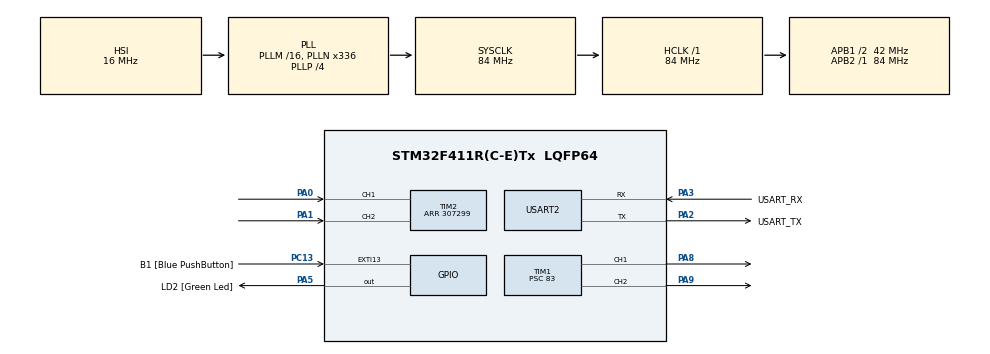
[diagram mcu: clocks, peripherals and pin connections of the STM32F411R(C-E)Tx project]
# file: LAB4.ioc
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ARM.CMSIS.5.6.0.CMSISJjCORE=true
ARM.CMSIS.5.6.0.CMSISJjDSP=Library
Mcu.Family=STM32F4
Mcu.Name=STM32F411R(C-E)Tx
Mcu.Package=LQFP64
Mcu.UserConstants=QEI_PR,64512
NVIC.PriorityGroup=NVIC_PRIORITYGROUP_0
PA0-WKUP.Signal=S_TIM2_CH1_ETR
PA1.Signal=S_TIM2_CH2
PA13.GPIO_Label=TMS
PA13.Mode=Serial_Wire
PA13.Signal=SYS_JTMS-SWDIO
PA14.GPIO_Label=TCK
PA14.Mode=Serial_Wire
PA14.Signal=SYS_JTCK-SWCLK
PA2.GPIO_Label=USART_TX
PA2.Mode=Asynchronous
PA2.Signal=USART2_TX
PA3.GPIO_Label=USART_RX
PA3.Mode=Asynchronous
PA3.Signal=USART2_RX
PA5.GPIO_Label=LD2 [Green Led]
PA5.Signal=GPIO_Output
PA8.Signal=S_TIM1_CH1
PA9.Signal=S_TIM1_CH2
PB3.GPIO_Label=SWO
PB3.Signal=SYS_JTDO-SWO
PC13-ANTI_TAMP.GPIO_Label=B1 [Blue PushButton]
PC13-ANTI_TAMP.GPIO_ModeDefaultEXTI=GPIO_MODE_IT_FALLING
PC13-ANTI_TAMP.Signal=GPXTI13
PC14-OSC32_IN.Mode=LSE-External-Oscillator
PC14-OSC32_IN.Signal=RCC_OSC32_IN
PC15-OSC32_OUT.Mode=LSE-External-Oscillator
PC15-OSC32_OUT.Signal=RCC_OSC32_OUT
PH0\ -\ OSC_IN.Mode=HSE-External-Clock-Source
PH0\ -\ OSC_IN.Signal=RCC_OSC_IN
PH1\ -\ OSC_OUT.Mode=HSE-External-Clock-Source
PH1\ -\ OSC_OUT.Signal=RCC_OSC_OUT
ProjectManager.HeapSize=0x200
ProjectManager.StackSize=0x400
ProjectManager.TargetToolchain=STM32CubeIDE
RCC.48MHZClocksFreq_Value=84000000
RCC.AHBFreq_Value=84000000
RCC.APB1CLKDivider=RCC_HCLK_DIV2
RCC.APB1Freq_Value=42000000
RCC.APB1TimFreq_Value=84000000
RCC.APB2Freq_Value=84000000
RCC.APB2TimFreq_Value=84000000
RCC.CortexFreq_Value=84000000
RCC.FLatency-AdvancedSettings=FLASH_LATENCY_2
RCC.HCLKFreq_Value=84000000
RCC.HSE_VALUE=8000000
RCC.HSI_VALUE=16000000
RCC.PLLN=336
RCC.PLLP=RCC_PLLP_DIV4
RCC.SYSCLKFreq_VALUE=84000000
RCC.SYSCLKSource=RCC_SYSCLKSOURCE_PLLCLK
RCC.VCOOutputFreq_Value=336000000
SH.S_TIM1_CH1.0=TIM1_CH1,PWM Generation1 CH1
SH.S_TIM1_CH2.0=TIM1_CH2,PWM Generation2 CH2
SH.S_TIM2_CH1_ETR.0=TIM2_CH1,Encoder_Interface
SH.S_TIM2_CH2.0=TIM2_CH2,Encoder_Interface
TIM1.Channel-PWM\ Generation1\ CH1=TIM_CHANNEL_1
TIM1.Channel-PWM\ Generation2\ CH2=TIM_CHANNEL_2
TIM1.Period=19999
TIM1.Prescaler=83
TIM2.EncoderMode=TIM_ENCODERMODE_TI12
TIM2.Period=307299
USART2.VirtualMode=VM_ASYNC
VP_ARM.CMSIS_VS_CMSISJjCORE_5.3.0_5.6.0.Mode=CMSISJjCORE
VP_ARM.CMSIS_VS_CMSISJjDSP_1.7.0_5.6.0.Mode=CMSISJjDSP
VP_TIM1_VS_ClockSourceINT.Mode=Internal
board=NUCLEO-F411RE

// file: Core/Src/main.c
/* USER CODE BEGIN Header */
/**
  ******************************************************************************
  * @file           : main.c
  * @brief          : Main program body
  ******************************************************************************
  * @attention
  *
  * Copyright (c) 2023 STMicroelectronics.
  * All rights reserved.
  *
  * This software is licensed under terms that can be found in the LICENSE file
  * in the root directory of this software component.
  * If no LICENSE file comes with this software, it is provided AS-IS.
  *
  ******************************************************************************
  */
/* USER CODE END Header */
#include "main.h"

/* USER CODE BEGIN Includes */
#include "arm_math.h"
/* USER CODE END Includes */

TIM_HandleTypeDef htim1;
TIM_HandleTypeDef htim2;

UART_HandleTypeDef huart2;

/* USER CODE BEGIN PV */
float position 			= 0;
float setposition 		= 0;
float Vfeedback 		= 0;

float error_prior 		= 0;
float integral_prior 	= 0;

float bias				= 0;
float Kp 				= 200;
float Ki			 	= 0.00001;
float Kd				= 5;

float error1 			= 0;

/* USER CODE END PV */

void SystemClock_Config(void);
static void MX_GPIO_Init(void);
static void MX_USART2_UART_Init(void);
static void MX_TIM1_Init(void);
static void MX_TIM2_Init(void);
/* USER CODE BEGIN PFP */
double my_pid();
/* USER CODE END PFP */

int main(void)
{

  /* MCU Configuration--------------------------------------------------------*/

  /* Reset of all peripherals, Initializes the Flash interface and the Systick. */
  HAL_Init();

  /* Configure the system clock */
  SystemClock_Config();

  /* Initialize all configured peripherals */
  MX_GPIO_Init();
  MX_USART2_UART_Init();
  MX_TIM1_Init();
  MX_TIM2_Init();
  /* USER CODE BEGIN 2 */
  HAL_TIM_Encoder_Start(&htim2, TIM_CHANNEL_1|TIM_CHANNEL_2);

  HAL_TIM_Base_Start(&htim1);				//PWM
  HAL_TIM_PWM_Start(&htim1, TIM_CHANNEL_1); //PWM
  HAL_TIM_PWM_Start(&htim1, TIM_CHANNEL_2); //PWM

  /* USER CODE END 2 */

  /* Infinite loop */
  /* USER CODE BEGIN WHILE */
  while (1)
  {
	 static uint32_t timestamp = 0;
	 if(timestamp < HAL_GetTick()){
		 timestamp = HAL_GetTick()+1;

		 //Vfeedback = arm_pid_f32(&PID,setposition - position);
		 Vfeedback = my_pid();
		 position = (__HAL_TIM_GET_COUNTER(&htim2)) * 0.1171875; // *(360/3072)
		 if(position > 36000){position = position - 36013;}
		 error1 = setposition - position;
		 if(fabs(error1) < 0.1){
			 __HAL_TIM_SET_COMPARE(&htim1,TIM_CHANNEL_1,0);
			 __HAL_TIM_SET_COMPARE(&htim1,TIM_CHANNEL_2,0);
		 }
		 else{
			 if(Vfeedback < 0){
				 Vfeedback = Vfeedback * -1;
				 if(Vfeedback > 20000){Vfeedback = 20000;}
				 if(Vfeedback < 400){Vfeedback = 400;}
				 __HAL_TIM_SET_COMPARE(&htim1,TIM_CHANNEL_1,0);
				 __HAL_TIM_SET_COMPARE(&htim1,TIM_CHANNEL_2,Vfeedback);
			 }
			 else{
				 if(Vfeedback > 20000){Vfeedback = 20000;}
				 if(Vfeedback < 400){Vfeedback = 400;}
				 __HAL_TIM_SET_COMPARE(&htim1,TIM_CHANNEL_1,Vfeedback);
				 __HAL_TIM_SET_COMPARE(&htim1,TIM_CHANNEL_2,0);
			 }
		 }
//		 position = (__HAL_TIM_GET_COUNTER(&htim2)) * 0.1171875; // *(360/3072)

	 }
    /* USER CODE END WHILE */

  }
}

void SystemClock_Config(void)
{
  RCC_OscInitTypeDef RCC_OscInitStruct = {0};
  RCC_ClkInitTypeDef RCC_ClkInitStruct = {0};

  /** Configure the main internal regulator output voltage
  */
  __HAL_RCC_PWR_CLK_ENABLE();
  __HAL_PWR_VOLTAGESCALING_CONFIG(PWR_REGULATOR_VOLTAGE_SCALE1);

  /** Initializes the RCC Oscillators according to the specified parameters
  * in the RCC_OscInitTypeDef structure.
  */
  RCC_OscInitStruct.OscillatorType = RCC_OSCILLATORTYPE_HSI;
  RCC_OscInitStruct.HSIState = RCC_HSI_ON;
  RCC_OscInitStruct.HSICalibrationValue = RCC_HSICALIBRATION_DEFAULT;
  RCC_OscInitStruct.PLL.PLLState = RCC_PLL_ON;
  RCC_OscInitStruct.PLL.PLLSource = RCC_PLLSOURCE_HSI;
  RCC_OscInitStruct.PLL.PLLM = 16;
  RCC_OscInitStruct.PLL.PLLN = 336;
  RCC_OscInitStruct.PLL.PLLP = RCC_PLLP_DIV4;
  RCC_OscInitStruct.PLL.PLLQ = 4;
  if (HAL_RCC_OscConfig(&RCC_OscInitStruct) != HAL_OK)
  {
    Error_Handler();
  }

  /** Initializes the CPU, AHB and APB buses clocks
  */
  RCC_ClkInitStruct.ClockType = RCC_CLOCKTYPE_HCLK|RCC_CLOCKTYPE_SYSCLK
                              |RCC_CLOCKTYPE_PCLK1|RCC_CLOCKTYPE_PCLK2;
  RCC_ClkInitStruct.SYSCLKSource = RCC_SYSCLKSOURCE_PLLCLK;
  RCC_ClkInitStruct.AHBCLKDivider = RCC_SYSCLK_DIV1;
  RCC_ClkInitStruct.APB1CLKDivider = RCC_HCLK_DIV2;
  RCC_ClkInitStruct.APB2CLKDivider = RCC_HCLK_DIV1;

  if (HAL_RCC_ClockConfig(&RCC_ClkInitStruct, FLASH_LATENCY_2) != HAL_OK)
  {
    Error_Handler();
  }
}

static void MX_TIM1_Init(void)
{

  TIM_ClockConfigTypeDef sClockSourceConfig = {0};
  TIM_MasterConfigTypeDef sMasterConfig = {0};
  TIM_OC_InitTypeDef sConfigOC = {0};
  TIM_BreakDeadTimeConfigTypeDef sBreakDeadTimeConfig = {0};

  htim1.Instance = TIM1;
  htim1.Init.Prescaler = 83;
  htim1.Init.CounterMode = TIM_COUNTERMODE_UP;
  htim1.Init.Period = 19999;
  htim1.Init.ClockDivision = TIM_CLOCKDIVISION_DIV1;
  htim1.Init.RepetitionCounter = 0;
  htim1.Init.AutoReloadPreload = TIM_AUTORELOAD_PRELOAD_DISABLE;
  if (HAL_TIM_Base_Init(&htim1) != HAL_OK)
  {
    Error_Handler();
  }
  sClockSourceConfig.ClockSource = TIM_CLOCKSOURCE_INTERNAL;
  if (HAL_TIM_ConfigClockSource(&htim1, &sClockSourceConfig) != HAL_OK)
  {
    Error_Handler();
  }
  if (HAL_TIM_PWM_Init(&htim1) != HAL_OK)
  {
    Error_Handler();
  }
  sMasterConfig.MasterOutputTrigger = TIM_TRGO_RESET;
  sMasterConfig.MasterSlaveMode = TIM_MASTERSLAVEMODE_DISABLE;
  if (HAL_TIMEx_MasterConfigSynchronization(&htim1, &sMasterConfig) != HAL_OK)
  {
    Error_Handler();
  }
  sConfigOC.OCMode = TIM_OCMODE_PWM1;
  sConfigOC.Pulse = 0;
  sConfigOC.OCPolarity = TIM_OCPOLARITY_HIGH;
  sConfigOC.OCNPolarity = TIM_OCNPOLARITY_HIGH;
  sConfigOC.OCFastMode = TIM_OCFAST_DISABLE;
  sConfigOC.OCIdleState = TIM_OCIDLESTATE_RESET;
  sConfigOC.OCNIdleState = TIM_OCNIDLESTATE_RESET;
  if (HAL_TIM_PWM_ConfigChannel(&htim1, &sConfigOC, TIM_CHANNEL_1) != HAL_OK)
  {
    Error_Handler();
  }
  if (HAL_TIM_PWM_ConfigChannel(&htim1, &sConfigOC, TIM_CHANNEL_2) != HAL_OK)
  {
    Error_Handler();
  }
  sBreakDeadTimeConfig.OffStateRunMode = TIM_OSSR_DISABLE;
  sBreakDeadTimeConfig.OffStateIDLEMode = TIM_OSSI_DISABLE;
  sBreakDeadTimeConfig.LockLevel = TIM_LOCKLEVEL_OFF;
  sBreakDeadTimeConfig.DeadTime = 0;
  sBreakDeadTimeConfig.BreakState = TIM_BREAK_DISABLE;
  sBreakDeadTimeConfig.BreakPolarity = TIM_BREAKPOLARITY_HIGH;
  sBreakDeadTimeConfig.AutomaticOutput = TIM_AUTOMATICOUTPUT_DISABLE;
  if (HAL_TIMEx_ConfigBreakDeadTime(&htim1, &sBreakDeadTimeConfig) != HAL_OK)
  {
    Error_Handler();
  }
  HAL_TIM_MspPostInit(&htim1);

}

static void MX_TIM2_Init(void)
{

  TIM_Encoder_InitTypeDef sConfig = {0};
  TIM_MasterConfigTypeDef sMasterConfig = {0};

  htim2.Instance = TIM2;
  htim2.Init.Prescaler = 0;
  htim2.Init.CounterMode = TIM_COUNTERMODE_UP;
  htim2.Init.Period = 307299;
  htim2.Init.ClockDivision = TIM_CLOCKDIVISION_DIV1;
  htim2.Init.AutoReloadPreload = TIM_AUTORELOAD_PRELOAD_DISABLE;
  sConfig.EncoderMode = TIM_ENCODERMODE_TI12;
  sConfig.IC1Polarity = TIM_ICPOLARITY_RISING;
  sConfig.IC1Selection = TIM_ICSELECTION_DIRECTTI;
  sConfig.IC1Prescaler = TIM_ICPSC_DIV1;
  sConfig.IC1Filter = 0;
  sConfig.IC2Polarity = TIM_ICPOLARITY_RISING;
  sConfig.IC2Selection = TIM_ICSELECTION_DIRECTTI;
  sConfig.IC2Prescaler = TIM_ICPSC_DIV1;
  sConfig.IC2Filter = 0;
  if (HAL_TIM_Encoder_Init(&htim2, &sConfig) != HAL_OK)
  {
    Error_Handler();
  }
  sMasterConfig.MasterOutputTrigger = TIM_TRGO_RESET;
  sMasterConfig.MasterSlaveMode = TIM_MASTERSLAVEMODE_DISABLE;
  if (HAL_TIMEx_MasterConfigSynchronization(&htim2, &sMasterConfig) != HAL_OK)
  {
    Error_Handler();
  }

}

static void MX_USART2_UART_Init(void)
{

  huart2.Instance = USART2;
  huart2.Init.BaudRate = 115200;
  huart2.Init.WordLength = UART_WORDLENGTH_8B;
  huart2.Init.StopBits = UART_STOPBITS_1;
  huart2.Init.Parity = UART_PARITY_NONE;
  huart2.Init.Mode = UART_MODE_TX_RX;
  huart2.Init.HwFlowCtl = UART_HWCONTROL_NONE;
  huart2.Init.OverSampling = UART_OVERSAMPLING_16;
  if (HAL_UART_Init(&huart2) != HAL_OK)
  {
    Error_Handler();
  }

}

static void MX_GPIO_Init(void)
{
  GPIO_InitTypeDef GPIO_InitStruct = {0};

  /* GPIO Ports Clock Enable */
  __HAL_RCC_GPIOC_CLK_ENABLE();
  __HAL_RCC_GPIOH_CLK_ENABLE();
  __HAL_RCC_GPIOA_CLK_ENABLE();
  __HAL_RCC_GPIOB_CLK_ENABLE();

  /*Configure GPIO pin Output Level */
  HAL_GPIO_WritePin(LD2_GPIO_Port, LD2_Pin, GPIO_PIN_RESET);

  /*Configure GPIO pin : B1_Pin */
  GPIO_InitStruct.Pin = B1_Pin;
  GPIO_InitStruct.Mode = GPIO_MODE_IT_FALLING;
  GPIO_InitStruct.Pull = GPIO_NOPULL;
  HAL_GPIO_Init(B1_GPIO_Port, &GPIO_InitStruct);

  /*Configure GPIO pin : LD2_Pin */
  GPIO_InitStruct.Pin = LD2_Pin;
  GPIO_InitStruct.Mode = GPIO_MODE_OUTPUT_PP;
  GPIO_InitStruct.Pull = GPIO_NOPULL;
  GPIO_InitStruct.Speed = GPIO_SPEED_FREQ_LOW;
  HAL_GPIO_Init(LD2_GPIO_Port, &GPIO_InitStruct);

}

/* USER CODE BEGIN 4 */
double my_pid(){
	float output;
	float error;
	float derivative;
	float integral;
	error = setposition - position;
	integral = integral_prior + (error*(0.001));
	derivative = (error-error_prior)/0.001;
	output = (Kp*error) + (Ki*integral) + (Kd*derivative) + bias;
	error_prior = error;
	integral_prior = integral;
	return output;
}
/* USER CODE END 4 */

void Error_Handler(void)
{
  __disable_irq();
  while (1)
  {
  }
}
